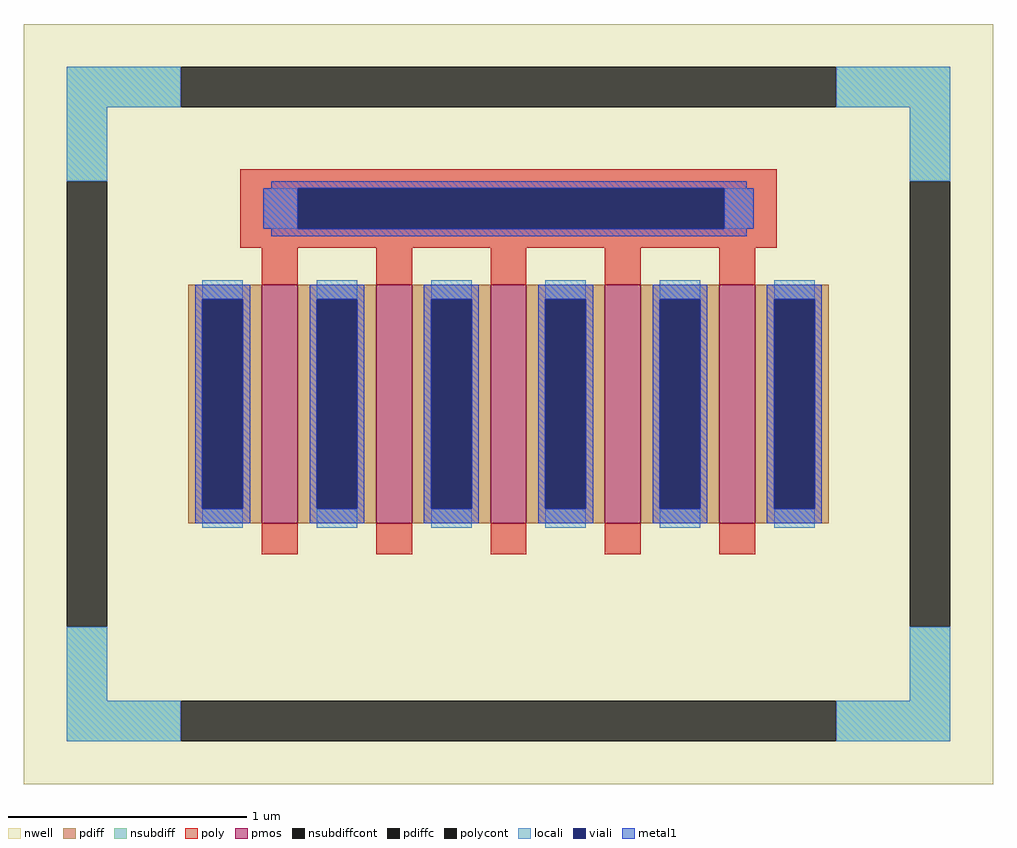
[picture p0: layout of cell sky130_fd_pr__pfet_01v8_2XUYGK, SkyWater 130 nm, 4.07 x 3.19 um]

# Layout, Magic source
magic
tech sky130A
magscale 1 2
<< nwell >>
rect -407 -319 407 319
<< pmos >>
rect -207 -100 -177 100
rect -111 -100 -81 100
rect -15 -100 15 100
rect 81 -100 111 100
rect 177 -100 207 100
<< pdiff >>
rect -269 88 -207 100
rect -269 -88 -257 88
rect -223 -88 -207 88
rect -269 -100 -207 -88
rect -177 88 -111 100
rect -177 -88 -161 88
rect -127 -88 -111 88
rect -177 -100 -111 -88
rect -81 88 -15 100
rect -81 -88 -65 88
rect -31 -88 -15 88
rect -81 -100 -15 -88
rect 15 88 81 100
rect 15 -88 31 88
rect 65 -88 81 88
rect 15 -100 81 -88
rect 111 88 177 100
rect 111 -88 127 88
rect 161 -88 177 88
rect 111 -100 177 -88
rect 207 88 269 100
rect 207 -88 223 88
rect 257 -88 269 88
rect 207 -100 269 -88
<< pdiffc >>
rect -257 -88 -223 88
rect -161 -88 -127 88
rect -65 -88 -31 88
rect 31 -88 65 88
rect 127 -88 161 88
rect 223 -88 257 88
<< nsubdiff >>
rect -371 249 -275 283
rect 275 249 371 283
rect -371 187 -337 249
rect 337 187 371 249
rect -371 -249 -337 -187
rect 337 -249 371 -187
rect -371 -283 -275 -249
rect 275 -283 371 -249
<< nsubdiffcont >>
rect -275 249 275 283
rect -371 -187 -337 187
rect 337 -187 371 187
rect -275 -283 275 -249
<< poly >>
rect -225 181 225 197
rect -225 147 -177 181
rect 181 147 225 181
rect -225 131 225 147
rect -207 100 -177 131
rect -111 100 -81 131
rect -15 100 15 131
rect 81 100 111 131
rect 177 100 207 131
rect -207 -126 -177 -100
rect -111 -126 -81 -100
rect -15 -126 15 -100
rect 81 -126 111 -100
rect 177 -126 207 -100
<< polycont >>
rect -177 147 181 181
<< locali >>
rect -371 249 -275 283
rect 275 249 371 283
rect -371 187 -337 249
rect 337 187 371 249
rect -206 147 -177 181
rect 181 147 206 181
rect -257 88 -223 104
rect -257 -104 -223 -88
rect -161 88 -127 104
rect -161 -104 -127 -88
rect -65 88 -31 104
rect -65 -104 -31 -88
rect 31 88 65 104
rect 31 -104 65 -88
rect 127 88 161 104
rect 127 -104 161 -88
rect 223 88 257 104
rect 223 -104 257 -88
rect -371 -249 -337 -187
rect 337 -249 371 -187
rect -371 -283 -275 -249
rect 275 -283 371 -249
<< viali >>
rect -177 147 181 181
rect -257 -88 -223 88
rect -161 -88 -127 88
rect -65 -88 -31 88
rect 31 -88 65 88
rect 127 -88 161 88
rect 223 -88 257 88
<< metal1 >>
rect -199 181 200 187
rect -206 147 -177 181
rect 181 147 206 181
rect -199 141 200 147
rect -263 88 -217 100
rect -263 -88 -257 88
rect -223 -88 -217 88
rect -263 -100 -217 -88
rect -167 88 -121 100
rect -167 -88 -161 88
rect -127 -88 -121 88
rect -167 -100 -121 -88
rect -71 88 -25 100
rect -71 -88 -65 88
rect -31 -88 -25 88
rect -71 -100 -25 -88
rect 25 88 71 100
rect 25 -88 31 88
rect 65 -88 71 88
rect 25 -100 71 -88
rect 121 88 167 100
rect 121 -88 127 88
rect 161 -88 167 88
rect 121 -100 167 -88
rect 217 88 263 100
rect 217 -88 223 88
rect 257 -88 263 88
rect 217 -100 263 -88
<< properties >>
string gencell sky130_fd_pr__pfet_01v8
string FIXED_BBOX -354 -266 354 266
string parameters w 1 l 0.15 m 1 nf 5 diffcov 100 polycov 100 guard 1 glc 1 grc 1 gtc 1 gbc 1 tbcov 100 rlcov 100 topc 0 botc 0 poverlap 0 doverlap 1 lmin 0.15 wmin 0.42 compatible {sky130_fd_pr__pfet_01v8  sky130_fd_pr__pfet_01v8_lvt sky130_fd_pr__pfet_01v8_hvt  sky130_fd_pr__pfet_g5v0d10v5} full_metal 1 viasrc 100 viadrn 100 viagate 100 viagb 0 viagr 0 viagl 0 viagt 0
string library sky130
<< end >>
